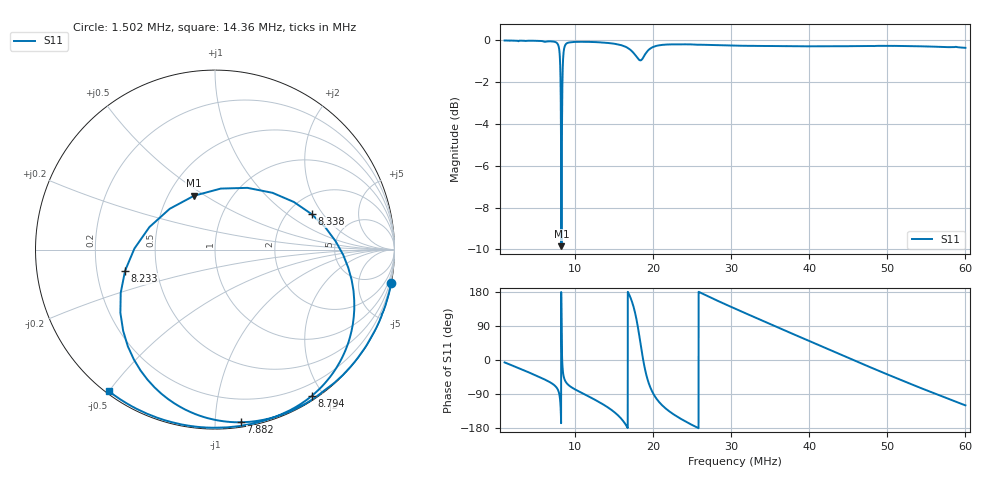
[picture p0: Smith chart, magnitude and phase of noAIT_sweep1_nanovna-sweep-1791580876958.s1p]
! NanoVNA Web complex sweep
! Processing: unaveraged complex samples; linear segment spacing; no smoothing
# Hz S RI R 50
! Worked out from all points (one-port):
!   5050 points, 1 MHz to 60 MHz, reference 50 ohm
!   lowest |S11| = -9.8 dB at 8.28 MHz (marker M1), VSWR 1.95, Z = 33.5 + j22.4 ohm
!   |S11| at or under -10 dB: nowhere
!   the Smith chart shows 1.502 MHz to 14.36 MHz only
!   S11 on the Smith chart (normalised r, x): 1.502 MHz: 0, -11; 7.882 MHz: 0.03, -1.16; 8.233 MHz: 0.32, -0.10; 8.338 MHz: 2.66, +1.57; 8.794 MHz: 0.05, -1.86; 14.36 MHz: 0.01, -0.50
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1000000  0.9936 -0.1108
1502455  0.9826 -0.1834
6340045  0.5908 -0.799
7882465  0.1448 -0.962
8233015  -0.501 -0.1178
8279755  -0.1169 0.3
8338180  0.5381 0.1978
8384920  0.7427 -0.1016
8595250  0.6591 -0.6852
8793895  0.5392 -0.8151
1.115426e7  0.00288 -0.9925
1.435596e7  -0.5926 -0.7878
1.575816e7  -0.8534 -0.4741
1.716036e7  -0.9031 0.2875
1.795494e7  -0.1506 0.8985
1.831717e7  0.5174 0.7323
1.879626e7  0.908 -0.0944
1.93104e7  0.5833 -0.7424
1.994138e7  0.082 -0.9599
2.123842e7  -0.5003 -0.8379
2.313139e7  -0.8472 -0.4898
2.652004e7  -0.9696 0.1162
3.050462e7  -0.6937 0.6806
3.425551e7  -0.1943 0.9503
3.787786e7  0.3465 0.9049
4.52511e7  0.9674 0.0562
5.262433e7  0.4833 -0.8409
5.999756e7  -0.4755 -0.8343
